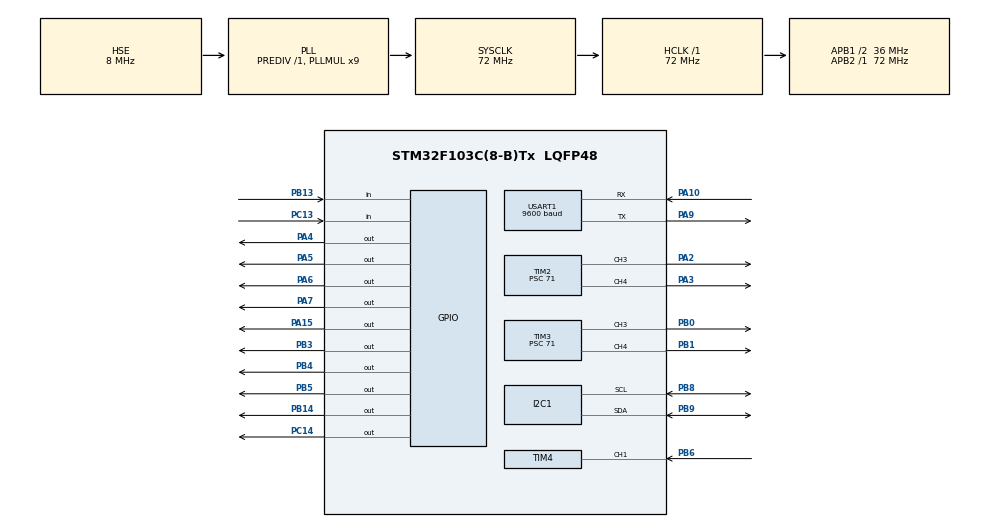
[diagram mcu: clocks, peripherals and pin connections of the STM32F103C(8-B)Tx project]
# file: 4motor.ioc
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Mcu.Family=STM32F1
Mcu.Name=STM32F103C(8-B)Tx
Mcu.Package=LQFP48
NVIC.PriorityGroup=NVIC_PRIORITYGROUP_4
NVIC.TIM4_IRQn=true\:0\:0\:false\:false\:true\:true\:true\:true
NVIC.USART1_IRQn=true\:0\:0\:false\:false\:true\:true\:true\:true
PA10.Mode=Asynchronous
PA10.Signal=USART1_RX
PA13.Mode=Serial_Wire
PA13.Signal=SYS_JTMS-SWDIO
PA14.Mode=Serial_Wire
PA14.Signal=SYS_JTCK-SWCLK
PA15.Signal=GPIO_Output
PA2.Signal=S_TIM2_CH3
PA3.Signal=S_TIM2_CH4
PA4.Signal=GPIO_Output
PA5.Signal=GPIO_Output
PA6.Signal=GPIO_Output
PA7.Signal=GPIO_Output
PA9.Mode=Asynchronous
PA9.Signal=USART1_TX
PB0.Signal=S_TIM3_CH3
PB1.Signal=S_TIM3_CH4
PB13.Signal=GPIO_Input
PB14.Signal=GPIO_Output
PB3.Signal=GPIO_Output
PB4.Signal=GPIO_Output
PB5.Signal=GPIO_Output
PB6.Signal=S_TIM4_CH1
PB8.Mode=I2C
PB8.Signal=I2C1_SCL
PB9.Mode=I2C
PB9.Signal=I2C1_SDA
PC13-TAMPER-RTC.Signal=GPIO_Input
PC14-OSC32_IN.Signal=GPIO_Output
PD0-OSC_IN.Mode=HSE-External-Oscillator
PD0-OSC_IN.Signal=RCC_OSC_IN
PD1-OSC_OUT.Mode=HSE-External-Oscillator
PD1-OSC_OUT.Signal=RCC_OSC_OUT
ProjectManager.HeapSize=0x200
ProjectManager.StackSize=0x400
ProjectManager.TargetToolchain=STM32CubeIDE
RCC.AHBFreq_Value=72000000
RCC.APB1CLKDivider=RCC_HCLK_DIV2
RCC.APB1Freq_Value=36000000
RCC.APB1TimFreq_Value=72000000
RCC.APB2Freq_Value=72000000
RCC.APB2TimFreq_Value=72000000
RCC.HCLKFreq_Value=72000000
RCC.PLLMUL=RCC_PLL_MUL9
RCC.PLLSourceVirtual=RCC_PLLSOURCE_HSE
RCC.SYSCLKFreq_VALUE=72000000
RCC.SYSCLKSource=RCC_SYSCLKSOURCE_PLLCLK
RCC.USBFreq_Value=72000000
SH.S_TIM2_CH3.0=TIM2_CH3,PWM Generation3 CH3
SH.S_TIM2_CH4.0=TIM2_CH4,PWM Generation4 CH4
SH.S_TIM3_CH3.0=TIM3_CH3,PWM Generation3 CH3
SH.S_TIM3_CH4.0=TIM3_CH4,PWM Generation4 CH4
SH.S_TIM4_CH1.0=TIM4_CH1,Input_Capture1_from_TI1
TIM1.Prescaler=71
TIM2.Channel-PWM\ Generation3\ CH3=TIM_CHANNEL_3
TIM2.Channel-PWM\ Generation4\ CH4=TIM_CHANNEL_4
TIM2.Period=99
TIM2.Prescaler=71
TIM3.Channel-PWM\ Generation3\ CH3=TIM_CHANNEL_3
TIM3.Channel-PWM\ Generation4\ CH4=TIM_CHANNEL_4
TIM3.Period=99
TIM3.Prescaler=71
TIM4.Channel-Input_Capture1_from_TI1=TIM_CHANNEL_1
USART1.BaudRate=9600
USART1.VirtualMode=VM_ASYNC
VP_TIM1_VS_ClockSourceINT.Mode=Internal
VP_TIM2_VS_ClockSourceINT.Mode=Internal
VP_TIM3_VS_ClockSourceINT.Mode=Internal
VP_TIM4_VS_ClockSourceINT.Mode=Internal
board=custom

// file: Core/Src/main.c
/* USER CODE BEGIN Header */
/**
  ******************************************************************************
  * @file           : main.c
  * @brief          : Main program body
  ******************************************************************************
  * @attention
  *
  * Copyright (c) 2025 STMicroelectronics.
  * All rights reserved.
  *
  * This software is licensed under terms that can be found in the LICENSE file
  * in the root directory of this software component.
  * If no LICENSE file comes with this software, it is provided AS-IS.
  *
  ******************************************************************************
  */
/* Includes ------------------------------------------------------------------*/
#include "main.h"
#include "i2c.h"
#include "tim.h"
#include "usart.h"
#include "gpio.h"
#include "global.h"
#include "motor.h"
#include "navigation.h"
#include "MPU6050.h"
#include "bluetooth_receiver.h"
#include "bluetooth_transmitter.h"
#include "encoder.h"
#include "path_planning.h"
#include "hx711.h"
#include "HCSR04.h"

/* USER CODE END Header */
#include "main.h"
#include "i2c.h"
#include "tim.h"
#include "usart.h"
#include "gpio.h"

/* USER CODE BEGIN Includes */
float roll, pitch, yaw;
uint32_t last_send_time = 0;

/* USER CODE END Includes */

void SystemClock_Config(void);
/* USER CODE BEGIN PFP */
void HAL_TIM_IC_CaptureCallback(TIM_HandleTypeDef *htim4)
{
    if(htim4->Instance == TIM4)  // kiểm tra đúng timer
    {
        counter++;
    }
}
/* USER CODE END PFP */

int main(void)
{

  /* MCU Configuration--------------------------------------------------------*/

  /* Reset of all peripherals, Initializes the Flash interface and the Systick. */
  HAL_Init();

  /* Configure the system clock */
  SystemClock_Config();

  /* Initialize all configured peripherals */
  MX_GPIO_Init();
  MX_I2C1_Init();
  MX_TIM2_Init();
  MX_TIM3_Init();
  MX_TIM4_Init();
  MX_TIM1_Init();
  MX_USART1_UART_Init();
  /* USER CODE BEGIN 2 */
  //*-------Bluetooth------*//
  HAL_UART_Receive_IT(&huart1,&r_data,1);
  //*-------MPU6050------*//
  MPU6050_Init();
  HAL_Delay(100);
  MPU6050_CalculateError();
  HAL_Delay(20);
  //*-------PWM động cơ trái------*//
  HAL_TIM_Base_Start(&htim2);
  HAL_TIM_PWM_Start(&htim2, TIM_CHANNEL_3); // Động cơ dưới - Bên trái
  HAL_TIM_PWM_Start(&htim2, TIM_CHANNEL_4);	// Động cơ trên - Bên trái
  //*-------PWM động cơ phải------*//
  HAL_TIM_Base_Start(&htim3);
  HAL_TIM_PWM_Start(&htim3, TIM_CHANNEL_3);	// Động cơ dưới - Bên phải
  HAL_TIM_PWM_Start(&htim3, TIM_CHANNEL_4);	// Động cơ trên - Bên phải
  //*-------Encoder--------*//
  HAL_TIM_Encoder_Start_IT(&htim4, TIM_CHANNEL_1);
  Encoder_Init();
  //*-------HX711--------*//
  HAL_GPIO_WritePin(SCK_PORT, SCK_PIN, GPIO_PIN_SET);
  HAL_Delay(10);
  HAL_GPIO_WritePin(SCK_PORT, SCK_PIN, GPIO_PIN_RESET);
  HAL_Delay(10);
  //*-----HCSR04-----*//
  HAL_TIM_Base_Start(&htim1);
  HAL_GPIO_WritePin(TRIG_PORT, TRIG_PIN, GPIO_PIN_RESET);

  uint32_t lastHXRead = 0;
  uint32_t lastUSRead = 0;

  /* USER CODE END 2 */

  /* Infinite loop */
  /* USER CODE BEGIN WHILE */
  while (1)
  {
	    MPU6050_Update(&roll, &pitch, &yaw);     // nhanh, nên gọi thường xuyên
	    Encoder_Update();                         // cũng nên gọi thường xuyên

	    if (HAL_GetTick() - lastHXRead > 2500) {   // mỗi 200ms mới cân
	        weight = weigh();
	        lastHXRead = HAL_GetTick();
	    }

	    if (HAL_GetTick() - lastUSRead > 100) {   // mỗi 100ms mới đo siêu âm
	        HCSR04_Read();
	        lastUSRead = HAL_GetTick();
	    }

	    State(); // xử lý logic theo trạng thái

	            //*----------Send distance and speed over Bluetooth every 500 ms------------*//
	    if (HAL_GetTick() - last_send_time >= 500)
	    {
	        Bluetooth_SendStatus(statusText, Distance);  // Distance là biến toàn cục
	        last_send_time = HAL_GetTick();
	    }

	    HAL_Delay(10);  // tránh chiếm CPU 100%

    /* USER CODE END WHILE */

  }
}

void SystemClock_Config(void)
{
  RCC_OscInitTypeDef RCC_OscInitStruct = {0};
  RCC_ClkInitTypeDef RCC_ClkInitStruct = {0};

  /** Initializes the RCC Oscillators according to the specified parameters
  * in the RCC_OscInitTypeDef structure.
  */
  RCC_OscInitStruct.OscillatorType = RCC_OSCILLATORTYPE_HSE;
  RCC_OscInitStruct.HSEState = RCC_HSE_ON;
  RCC_OscInitStruct.HSEPredivValue = RCC_HSE_PREDIV_DIV1;
  RCC_OscInitStruct.HSIState = RCC_HSI_ON;
  RCC_OscInitStruct.PLL.PLLState = RCC_PLL_ON;
  RCC_OscInitStruct.PLL.PLLSource = RCC_PLLSOURCE_HSE;
  RCC_OscInitStruct.PLL.PLLMUL = RCC_PLL_MUL9;
  if (HAL_RCC_OscConfig(&RCC_OscInitStruct) != HAL_OK)
  {
    Error_Handler();
  }

  /** Initializes the CPU, AHB and APB buses clocks
  */
  RCC_ClkInitStruct.ClockType = RCC_CLOCKTYPE_HCLK|RCC_CLOCKTYPE_SYSCLK
                              |RCC_CLOCKTYPE_PCLK1|RCC_CLOCKTYPE_PCLK2;
  RCC_ClkInitStruct.SYSCLKSource = RCC_SYSCLKSOURCE_PLLCLK;
  RCC_ClkInitStruct.AHBCLKDivider = RCC_SYSCLK_DIV1;
  RCC_ClkInitStruct.APB1CLKDivider = RCC_HCLK_DIV2;
  RCC_ClkInitStruct.APB2CLKDivider = RCC_HCLK_DIV1;

  if (HAL_RCC_ClockConfig(&RCC_ClkInitStruct, FLASH_LATENCY_2) != HAL_OK)
  {
    Error_Handler();
  }
}

void Error_Handler(void)
{
  __disable_irq();
  while (1)
  {
  }
}
